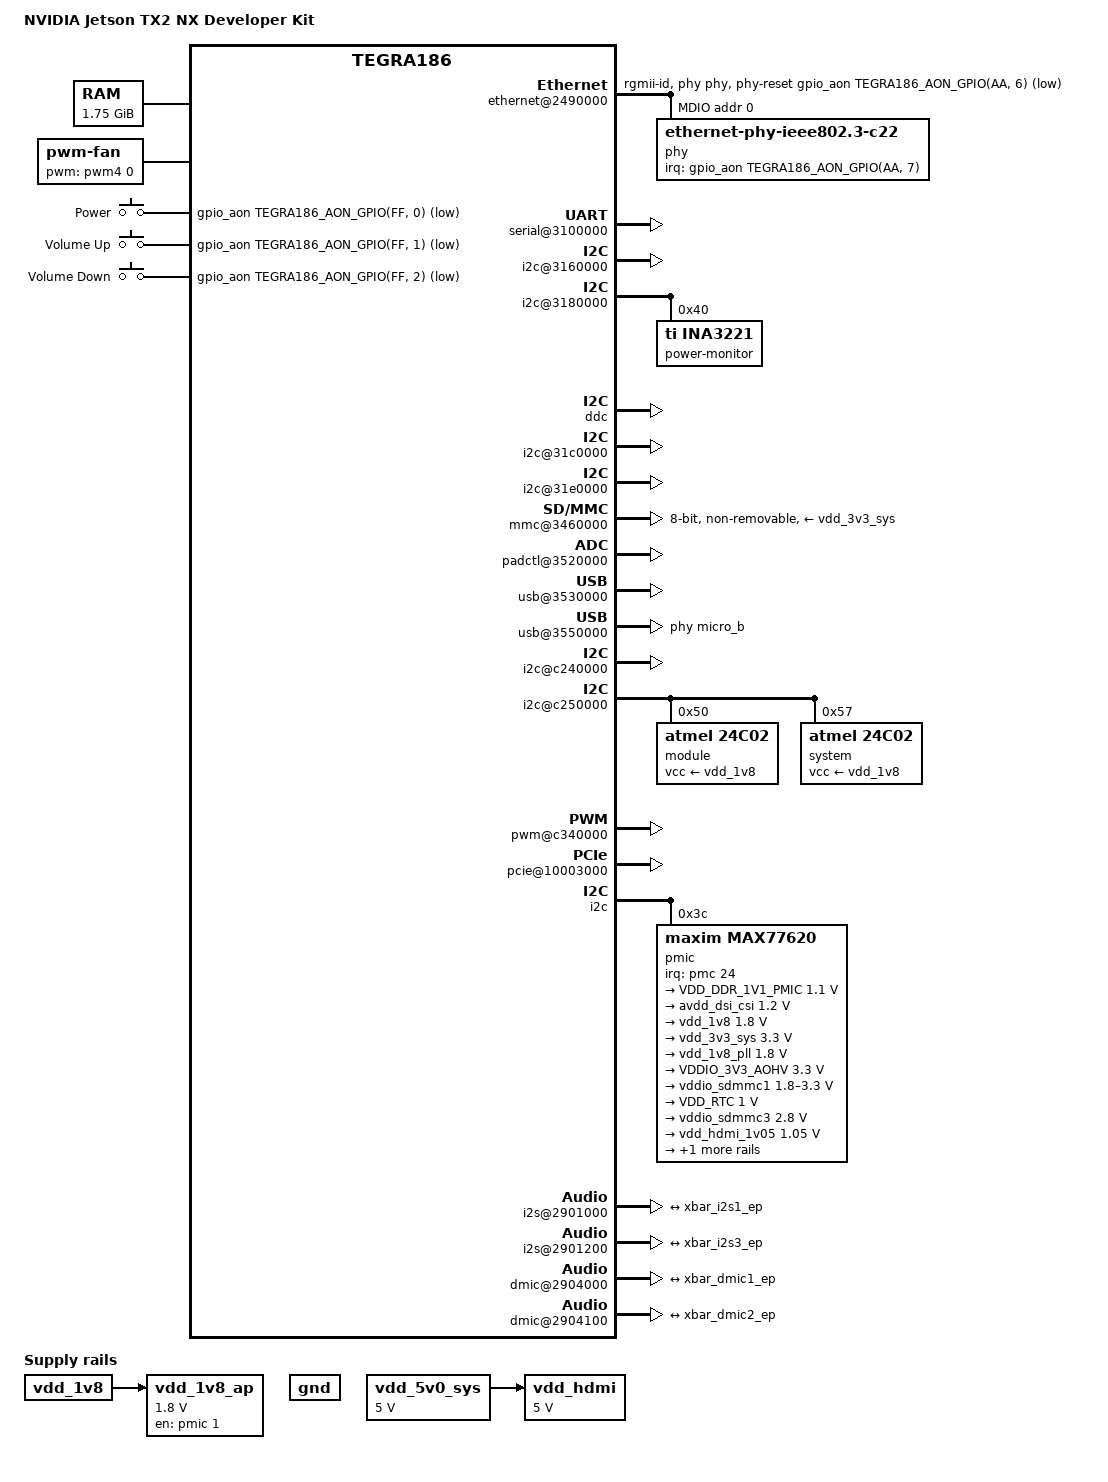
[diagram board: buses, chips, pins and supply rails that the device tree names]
// SPDX-License-Identifier: GPL-2.0
/dts-v1/;

#include <dt-bindings/input/linux-event-codes.h>
#include <dt-bindings/input/gpio-keys.h>
#include <dt-bindings/mfd/max77620.h>

#include "tegra186.dtsi"

/ {
	model = "NVIDIA Jetson TX2 NX Developer Kit";
	compatible = "nvidia,p3509-0000+p3636-0001", "nvidia,tegra186";

	aliases {
		ethernet0 = "/ethernet@2490000";
		i2c0 = "/bpmp/i2c";
		i2c1 = "/i2c@3160000";
		i2c2 = "/i2c@c240000";
		i2c3 = "/i2c@3180000";
		i2c4 = "/i2c@3190000";
		i2c5 = "/i2c@31c0000";
		i2c6 = "/i2c@c250000";
		i2c7 = "/i2c@31e0000";
		mmc0 = "/mmc@3460000";
		serial0 = &uarta;
	};

	chosen {
		bootargs = "earlycon console=ttyS0,115200n8";
		stdout-path = "serial0:115200n8";
	};

	memory@80000000 {
		device_type = "memory";
		reg = <0x0 0x80000000 0x0 0x70000000>;
	};

	ethernet@2490000 {
		status = "okay";

		phy-reset-gpios = <&gpio_aon TEGRA186_AON_GPIO(AA, 6) GPIO_ACTIVE_LOW>;
		phy-handle = <&phy>;
		phy-mode = "rgmii-id";

		mdio {
			#address-cells = <1>;
			#size-cells = <0>;

			phy: ethernet-phy@0 {
				compatible = "ethernet-phy-ieee802.3-c22";
				reg = <0x0>;
				interrupt-parent = <&gpio_aon>;
				interrupts = <TEGRA186_AON_GPIO(AA, 7) IRQ_TYPE_LEVEL_LOW>;
				#phy-cells = <0>;
			};
		};
	};

	memory-controller@2c00000 {
		status = "okay";
	};

	timer@3010000 {
		status = "okay";
	};

	serial@3100000 {
		status = "okay";
	};

	i2c@3160000 {
		status = "okay";
	};

	i2c@3180000 {
		status = "okay";

		power-monitor@40 {
			compatible = "ti,ina3221";
			reg = <0x40>;
			#address-cells = <1>;
			#size-cells = <0>;

			input@0 {
				reg = <0>;
				label = "VDD_IN";
				shunt-resistor-micro-ohms = <5>;
			};

			input@1 {
				reg = <1>;
				label = "VDD_CPU_GPU";
				shunt-resistor-micro-ohms = <5>;
			};

			input@2 {
				reg = <2>;
				label = "VDD_SOC";
				shunt-resistor-micro-ohms = <5>;
			};
		};
	};

	ddc: i2c@3190000 {
		status = "okay";
	};

	i2c@31c0000 {
		status = "okay";
	};

	i2c@31e0000 {
		status = "okay";
	};

	/* SDMMC4 (eMMC) */
	mmc@3460000 {
		status = "okay";
		bus-width = <8>;
		non-removable;

		vqmmc-supply = <&vdd_1v8_ap>;
		vmmc-supply = <&vdd_3v3_sys>;
	};

	hda@3510000 {
		nvidia,model = "NVIDIA Jetson TX2 NX HDA";
		status = "okay";
	};

	padctl@3520000 {
		status = "okay";

		avdd-pll-erefeut-supply = <&vdd_1v8_pll>;
		avdd-usb-supply = <&vdd_3v3_sys>;
		vclamp-usb-supply = <&vdd_1v8>;
		vddio-hsic-supply = <&gnd>;

		pads {
			usb2 {
				status = "okay";

				lanes {
					micro_b: usb2-0 {
						nvidia,function = "xusb";
						status = "okay";
					};

					usb2-1 {
						nvidia,function = "xusb";
						status = "okay";
					};

					usb2-2 {
						nvidia,function = "xusb";
						status = "okay";
					};
				};
			};

			usb3 {
				status = "okay";

				lanes {
					usb3-1 {
						nvidia,function = "xusb";
						status = "okay";
					};
				};
			};
		};

		ports {
			usb2-0 {
				status = "okay";
				mode = "otg";
				vbus-supply = <&vdd_5v0_sys>;
				usb-role-switch;

				connector {
					compatible = "gpio-usb-b-connector",
						     "usb-b-connector";
					label = "micro-USB";
					type = "micro";
					vbus-gpios = <&gpio
						      TEGRA186_MAIN_GPIO(L, 4)
						      GPIO_ACTIVE_LOW>;
					id-gpios = <&pmic 0 GPIO_ACTIVE_HIGH>;
				};
			};

			usb2-1 {
				status = "okay";
				mode = "host";

				vbus-supply = <&vdd_5v0_sys>;
			};

			usb2-2 {
				status = "okay";
				mode = "host";

				vbus-supply = <&vdd_5v0_sys>;
			};

			usb3-1 {
				nvidia,usb2-companion = <1>;
				vbus-supply = <&vdd_5v0_sys>;
				status = "okay";
			};
		};
	};

	usb@3530000 {
		status = "okay";

		phys = <&{/padctl@3520000/pads/usb2/lanes/usb2-0}>,
		       <&{/padctl@3520000/pads/usb2/lanes/usb2-1}>,
		       <&{/padctl@3520000/pads/usb2/lanes/usb2-2}>,
		       <&{/padctl@3520000/pads/usb3/lanes/usb3-1}>;
		phy-names = "usb2-0", "usb2-1", "usb2-2", "usb3-1";
	};

	usb@3550000 {
		status = "okay";

		phys = <&micro_b>;
		phy-names = "usb2-0";
	};

	hsp@3c00000 {
		status = "okay";
	};

	i2c@c240000 {
		status = "okay";
	};

	i2c@c250000 {
		status = "okay";

		/* module ID EEPROM */
		eeprom@50 {
			compatible = "atmel,24c02";
			reg = <0x50>;

			label = "module";
			vcc-supply = <&vdd_1v8>;
			address-width = <8>;
			pagesize = <8>;
			size = <256>;
			read-only;
		};

		/* carrier board ID EEPROM */
		eeprom@57 {
			compatible = "atmel,24c02";
			reg = <0x57>;

			label = "system";
			vcc-supply = <&vdd_1v8>;
			address-width = <8>;
			pagesize = <8>;
			size = <256>;
			read-only;
		};
	};

	rtc@c2a0000 {
		status = "okay";
	};

	pwm@c340000 {
		status = "okay";
	};

	pmc@c360000 {
		nvidia,invert-interrupt;
	};

	pcie@10003000 {
		status = "okay";

		dvdd-pex-supply = <&vdd_pex>;
		hvdd-pex-pll-supply = <&vdd_1v8>;
		hvdd-pex-supply = <&vdd_1v8>;
		vddio-pexctl-aud-supply = <&vdd_1v8>;

		pci@1,0 {
			nvidia,num-lanes = <2>;
			status = "okay";
		};

		pci@2,0 {
			nvidia,num-lanes = <1>;
			status = "disabled";
		};

		pci@3,0 {
			nvidia,num-lanes = <1>;
			status = "okay";
		};
	};

	host1x@13e00000 {
		status = "okay";

		dpaux@15040000 {
			status = "okay";
		};

		display-hub@15200000 {
			status = "okay";
		};

		dsi@15300000 {
			status = "disabled";
		};

		/* DP */
		sor@15540000 {
			status = "okay";

			avdd-io-hdmi-dp-supply = <&vdd_hdmi_1v05>;
			vdd-hdmi-dp-pll-supply = <&vdd_1v8_ap>;

			nvidia,dpaux = <&dpaux>;
		};

		/* HDMI */
		sor@15580000 {
			status = "okay";

			avdd-io-hdmi-dp-supply = <&vdd_hdmi_1v05>;
			vdd-hdmi-dp-pll-supply = <&vdd_1v8_ap>;
			hdmi-supply = <&vdd_hdmi>;

			nvidia,ddc-i2c-bus = <&ddc>;
			nvidia,hpd-gpio = <&gpio TEGRA186_MAIN_GPIO(P, 1)
						 GPIO_ACTIVE_LOW>;
		};

		dpaux@155c0000 {
			status = "okay";
		};
	};

	gpu@17000000 {
		status = "okay";
	};

	fan: pwm-fan {
		compatible = "pwm-fan";
		pwms = <&pwm4 0 45334>;

		cooling-levels = <0 64 128 255>;
		#cooling-cells = <2>;
	};

	gpio-keys {
		compatible = "gpio-keys";

		key-power {
			label = "Power";
			gpios = <&gpio_aon TEGRA186_AON_GPIO(FF, 0)
					   GPIO_ACTIVE_LOW>;
			linux,input-type = <EV_KEY>;
			linux,code = <KEY_POWER>;
			debounce-interval = <10>;
			wakeup-event-action = <EV_ACT_ASSERTED>;
			wakeup-source;
		};

		key-volume-up {
			label = "Volume Up";
			gpios = <&gpio_aon TEGRA186_AON_GPIO(FF, 1)
					   GPIO_ACTIVE_LOW>;
			linux,input-type = <EV_KEY>;
			linux,code = <KEY_VOLUMEUP>;
			debounce-interval = <10>;
		};

		key-volume-down {
			label = "Volume Down";
			gpios = <&gpio_aon TEGRA186_AON_GPIO(FF, 2)
					   GPIO_ACTIVE_LOW>;
			linux,input-type = <EV_KEY>;
			linux,code = <KEY_VOLUMEDOWN>;
			debounce-interval = <10>;
		};
	};

	cpus {
		cpu@0 {
			enable-method = "psci";
		};

		cpu@1 {
			enable-method = "psci";
		};

		cpu@2 {
			enable-method = "psci";
		};

		cpu@3 {
			enable-method = "psci";
		};

		cpu@4 {
			enable-method = "psci";
		};

		cpu@5 {
			enable-method = "psci";
		};
	};

	bpmp {
		i2c {
			status = "okay";

			pmic: pmic@3c {
				compatible = "maxim,max77620";
				reg = <0x3c>;

				interrupt-parent = <&pmc>;
				interrupts = <24 IRQ_TYPE_LEVEL_LOW>;
				#interrupt-cells = <2>;
				interrupt-controller;

				#gpio-cells = <2>;
				gpio-controller;

				pinctrl-names = "default";
				pinctrl-0 = <&max77620_default>;

				max77620_default: pinmux {
					gpio0 {
						pins = "gpio0";
						function = "gpio";
					};

					gpio1 {
						pins = "gpio1";
						function = "fps-out";
						maxim,active-fps-source = <MAX77620_FPS_SRC_0>;
					};

					gpio2 {
						pins = "gpio2";
						function = "fps-out";
						maxim,active-fps-source = <MAX77620_FPS_SRC_1>;
					};

					gpio3 {
						pins = "gpio3";
						function = "fps-out";
						maxim,active-fps-source = <MAX77620_FPS_SRC_1>;
					};

					gpio4 {
						pins = "gpio4";
						function = "32k-out1";
						drive-push-pull = <1>;
					};

					gpio5 {
						pins = "gpio5";
						function = "gpio";
						drive-push-pull = <0>;
					};

					gpio6 {
						pins = "gpio6";
						function = "gpio";
						drive-push-pull = <1>;
					};

					gpio7 {
						pins = "gpio7";
						function = "gpio";
						drive-push-pull = <1>;
					};
				};

				fps {
					fps0 {
						maxim,fps-event-source = <MAX77620_FPS_EVENT_SRC_EN0>;
						maxim,shutdown-fps-time-period-us = <640>;
					};

					fps1 {
						maxim,fps-event-source = <MAX77620_FPS_EVENT_SRC_EN1>;
						maxim,shutdown-fps-time-period-us = <640>;
					};

					fps2 {
						maxim,fps-event-source = <MAX77620_FPS_EVENT_SRC_EN0>;
						maxim,shutdown-fps-time-period-us = <640>;
					};
				};

				regulators {
					in-sd0-supply = <&vdd_5v0_sys>;
					in-sd1-supply = <&vdd_5v0_sys>;
					in-sd2-supply = <&vdd_5v0_sys>;
					in-sd3-supply = <&vdd_5v0_sys>;

					in-ldo0-1-supply = <&vdd_5v0_sys>;
					in-ldo2-supply = <&vdd_5v0_sys>;
					in-ldo3-5-supply = <&vdd_5v0_sys>;
					in-ldo4-6-supply = <&vdd_1v8>;
					in-ldo7-8-supply = <&avdd_dsi_csi>;

					sd0 {
						regulator-name = "VDD_DDR_1V1_PMIC";
						regulator-min-microvolt = <1100000>;
						regulator-max-microvolt = <1100000>;
						regulator-always-on;
						regulator-boot-on;
					};

					avdd_dsi_csi: sd1 {
						regulator-name = "AVDD_DSI_CSI_1V2";
						regulator-min-microvolt = <1200000>;
						regulator-max-microvolt = <1200000>;
					};

					vdd_1v8: sd2 {
						regulator-name = "VDD_1V8";
						regulator-min-microvolt = <1800000>;
						regulator-max-microvolt = <1800000>;
					};

					vdd_3v3_sys: sd3 {
						regulator-name = "VDD_3V3_SYS";
						regulator-min-microvolt = <3300000>;
						regulator-max-microvolt = <3300000>;
					};

					vdd_1v8_pll: ldo0 {
						regulator-name = "VDD_1V8_AP_PLL";
						regulator-min-microvolt = <1800000>;
						regulator-max-microvolt = <1800000>;
					};

					ldo2 {
						regulator-name = "VDDIO_3V3_AOHV";
						regulator-min-microvolt = <3300000>;
						regulator-max-microvolt = <3300000>;
						regulator-always-on;
						regulator-boot-on;
					};

					vddio_sdmmc1: ldo3 {
						regulator-name = "VDDIO_SDMMC1_AP";
						regulator-min-microvolt = <1800000>;
						regulator-max-microvolt = <3300000>;
					};

					ldo4 {
						regulator-name = "VDD_RTC";
						regulator-min-microvolt = <1000000>;
						regulator-max-microvolt = <1000000>;
					};

					vddio_sdmmc3: ldo5 {
						regulator-name = "VDDIO_SDMMC3_AP";
						regulator-min-microvolt = <2800000>;
						regulator-max-microvolt = <2800000>;
					};

					vdd_hdmi_1v05: ldo7 {
						regulator-name = "VDD_HDMI_1V05";
						regulator-min-microvolt = <1050000>;
						regulator-max-microvolt = <1050000>;
					};

					vdd_pex: ldo8 {
						regulator-name = "VDD_PEX_1V05";
						regulator-min-microvolt = <1050000>;
						regulator-max-microvolt = <1050000>;
					};
				};
			};
		};
	};

	psci {
		compatible = "arm,psci-1.0";
		status = "okay";
		method = "smc";
	};

	gnd: regulator-gnd {
		compatible = "regulator-fixed";
		regulator-name = "GND";
		regulator-min-microvolt = <0>;
		regulator-max-microvolt = <0>;
		regulator-always-on;
		regulator-boot-on;
	};

	vdd_5v0_sys: regulator-vdd-5v0-sys {
		compatible = "regulator-fixed";
		regulator-name = "VDD_5V0_SYS";
		regulator-min-microvolt = <5000000>;
		regulator-max-microvolt = <5000000>;
		regulator-always-on;
		regulator-boot-on;
	};

	vdd_1v8_ap: regulator-vdd-1v8-ap {
		compatible = "regulator-fixed";
		regulator-name = "VDD_1V8_AP";
		regulator-min-microvolt = <1800000>;
		regulator-max-microvolt = <1800000>;

		gpio = <&pmic 1 GPIO_ACTIVE_HIGH>;
		enable-active-high;

		vin-supply = <&vdd_1v8>;
	};

	vdd_hdmi: regulator-vdd-hdmi {
		compatible = "regulator-fixed";
		regulator-name = "VDD_5V0_HDMI_CON";
		regulator-min-microvolt = <5000000>;
		regulator-max-microvolt = <5000000>;

		vin-supply = <&vdd_5v0_sys>;
	};

	thermal-zones {
		cpu-thermal {
			polling-delay = <0>;
			polling-delay-passive = <500>;
			status = "okay";

			trips {
				cpu_trip_critical: critical {
					temperature = <96500>;
					hysteresis = <0>;
					type = "critical";
				};

				cpu_trip_hot: hot {
					temperature = <79000>;
					hysteresis = <2000>;
					type = "hot";
				};

				cpu_trip_active: active {
					temperature = <62000>;
					hysteresis = <2000>;
					type = "active";
				};

				cpu_trip_passive: passive {
					temperature = <45000>;
					hysteresis = <2000>;
					type = "passive";
				};
			};

			cooling-maps {
				cpu-critical {
					cooling-device = <&fan 3 3>;
					trip = <&cpu_trip_critical>;
				};

				cpu-hot {
					cooling-device = <&fan 2 2>;
					trip = <&cpu_trip_hot>;
				};

				cpu-active {
					cooling-device = <&fan 1 1>;
					trip = <&cpu_trip_active>;
				};

				cpu-passive {
					cooling-device = <&fan 0 0>;
					trip = <&cpu_trip_passive>;
				};
			};
		};

		aux-thermal {
			polling-delay = <0>;
			polling-delay-passive = <500>;
			status = "okay";

			trips {
				aux_alert0: critical {
					temperature = <90000>;
					hysteresis = <0>;
					type = "critical";
				};
			};
		};

		gpu-thermal {
			polling-delay = <0>;
			polling-delay-passive = <500>;
			status = "okay";

			trips {
				gpu_alert0: critical {
					temperature = <99000>;
					hysteresis = <0>;
					type = "critical";
				};
			};
		};
	};

	aconnect@2900000 {
		status = "okay";

		dma-controller@2930000 {
			status = "okay";
		};

		interrupt-controller@2a40000 {
			status = "okay";
		};

		ahub@2900800 {
			status = "okay";

			ports {
				#address-cells = <1>;
				#size-cells = <0>;

				port@0 {
					reg = <0x0>;

					xbar_admaif0_ep: endpoint {
						remote-endpoint = <&admaif0_ep>;
					};
				};

				port@1 {
					reg = <0x1>;

					xbar_admaif1_ep: endpoint {
						remote-endpoint = <&admaif1_ep>;
					};
				};

				port@2 {
					reg = <0x2>;

					xbar_admaif2_ep: endpoint {
						remote-endpoint = <&admaif2_ep>;
					};
				};

				port@3 {
					reg = <0x3>;

					xbar_admaif3_ep: endpoint {
						remote-endpoint = <&admaif3_ep>;
					};
				};

				port@4 {
					reg = <0x4>;

					xbar_admaif4_ep: endpoint {
						remote-endpoint = <&admaif4_ep>;
					};
				};

				port@5 {
					reg = <0x5>;

					xbar_admaif5_ep: endpoint {
						remote-endpoint = <&admaif5_ep>;
					};
				};

				port@6 {
					reg = <0x6>;

					xbar_admaif6_ep: endpoint {
						remote-endpoint = <&admaif6_ep>;
					};
				};

				port@7 {
					reg = <0x7>;

					xbar_admaif7_ep: endpoint {
						remote-endpoint = <&admaif7_ep>;
					};
				};

				port@8 {
					reg = <0x8>;

					xbar_admaif8_ep: endpoint {
						remote-endpoint = <&admaif8_ep>;
					};
				};

				port@9 {
					reg = <0x9>;

					xbar_admaif9_ep: endpoint {
						remote-endpoint = <&admaif9_ep>;
					};
				};

				port@a {
					reg = <0xa>;

					xbar_admaif10_ep: endpoint {
						remote-endpoint = <&admaif10_ep>;
					};
				};

				port@b {
					reg = <0xb>;

					xbar_admaif11_ep: endpoint {
						remote-endpoint = <&admaif11_ep>;
					};
				};

				port@c {
					reg = <0xc>;

					xbar_admaif12_ep: endpoint {
						remote-endpoint = <&admaif12_ep>;
					};
				};

				port@d {
					reg = <0xd>;

					xbar_admaif13_ep: endpoint {
						remote-endpoint = <&admaif13_ep>;
					};
				};

				port@e {
					reg = <0xe>;

					xbar_admaif14_ep: endpoint {
						remote-endpoint = <&admaif14_ep>;
					};
				};

				port@f {
					reg = <0xf>;

					xbar_admaif15_ep: endpoint {
						remote-endpoint = <&admaif15_ep>;
					};
				};

				port@10 {
					reg = <0x10>;

					xbar_admaif16_ep: endpoint {
						remote-endpoint = <&admaif16_ep>;
					};
				};

				port@11 {
					reg = <0x11>;

					xbar_admaif17_ep: endpoint {
						remote-endpoint = <&admaif17_ep>;
					};
				};

				port@12 {
					reg = <0x12>;

					xbar_admaif18_ep: endpoint {
						remote-endpoint = <&admaif18_ep>;
					};
				};

				port@13 {
					reg = <0x13>;

					xbar_admaif19_ep: endpoint {
						remote-endpoint = <&admaif19_ep>;
					};
				};

				xbar_i2s1_port: port@14 {
					reg = <0x14>;

					xbar_i2s1_ep: endpoint {
						remote-endpoint = <&i2s1_cif_ep>;
					};
				};

				xbar_i2s3_port: port@16 {
					reg = <0x16>;

					xbar_i2s3_ep: endpoint {
						remote-endpoint = <&i2s3_cif_ep>;
					};
				};

				xbar_dmic1_port: port@1a {
					reg = <0x1a>;

					xbar_dmic1_ep: endpoint {
						remote-endpoint = <&dmic1_cif_ep>;
					};
				};

				xbar_dmic2_port: port@1b {
					reg = <0x1b>;

					xbar_dmic2_ep: endpoint {
						remote-endpoint = <&dmic2_cif_ep>;
					};
				};
			};

			admaif@290f000 {
				status = "okay";

				ports {
					#address-cells = <1>;
					#size-cells = <0>;

					admaif0_port: port@0 {
						reg = <0x0>;

						admaif0_ep: endpoint {
							remote-endpoint = <&xbar_admaif0_ep>;
						};
					};

					admaif1_port: port@1 {
						reg = <0x1>;

						admaif1_ep: endpoint {
							remote-endpoint = <&xbar_admaif1_ep>;
						};
					};

					admaif2_port: port@2 {
						reg = <0x2>;

						admaif2_ep: endpoint {
							remote-endpoint = <&xbar_admaif2_ep>;
						};
					};

					admaif3_port: port@3 {
						reg = <0x3>;

						admaif3_ep: endpoint {
							remote-endpoint = <&xbar_admaif3_ep>;
						};
					};

					admaif4_port: port@4 {
						reg = <0x4>;

						admaif4_ep: endpoint {
							remote-endpoint = <&xbar_admaif4_ep>;
						};
					};

					admaif5_port: port@5 {
						reg = <0x5>;

						admaif5_ep: endpoint {
							remote-endpoint = <&xbar_admaif5_ep>;
						};
					};

					admaif6_port: port@6 {
						reg = <0x6>;

						admaif6_ep: endpoint {
							remote-endpoint = <&xbar_admaif6_ep>;
						};
					};

					admaif7_port: port@7 {
						reg = <0x7>;

						admaif7_ep: endpoint {
							remote-endpoint = <&xbar_admaif7_ep>;
						};
					};

					admaif8_port: port@8 {
						reg = <0x8>;

						admaif8_ep: endpoint {
							remote-endpoint = <&xbar_admaif8_ep>;
						};
					};

					admaif9_port: port@9 {
						reg = <0x9>;

						admaif9_ep: endpoint {
							remote-endpoint = <&xbar_admaif9_ep>;
						};
					};

					admaif10_port: port@a {
						reg = <0xa>;

						admaif10_ep: endpoint {
							remote-endpoint = <&xbar_admaif10_ep>;
						};
					};

					admaif11_port: port@b {
						reg = <0xb>;

						admaif11_ep: endpoint {
							remote-endpoint = <&xbar_admaif11_ep>;
						};
					};

					admaif12_port: port@c {
						reg = <0xc>;

						admaif12_ep: endpoint {
							remote-endpoint = <&xbar_admaif12_ep>;
						};
					};

					admaif13_port: port@d {
						reg = <0xd>;

						admaif13_ep: endpoint {
							remote-endpoint = <&xbar_admaif13_ep>;
						};
					};

					admaif14_port: port@e {
						reg = <0xe>;

						admaif14_ep: endpoint {
							remote-endpoint = <&xbar_admaif14_ep>;
						};
					};

					admaif15_port: port@f {
						reg = <0xf>;

						admaif15_ep: endpoint {
							remote-endpoint = <&xbar_admaif15_ep>;
						};
					};

					admaif16_port: port@10 {
						reg = <0x10>;

						admaif16_ep: endpoint {
							remote-endpoint = <&xbar_admaif16_ep>;
						};
					};

					admaif17_port: port@11 {
						reg = <0x11>;

						admaif17_ep: endpoint {
							remote-endpoint = <&xbar_admaif17_ep>;
						};
					};

					admaif18_port: port@12 {
						reg = <0x12>;

						admaif18_ep: endpoint {
							remote-endpoint = <&xbar_admaif18_ep>;
						};
					};

					admaif19_port: port@13 {
						reg = <0x13>;

						admaif19_ep: endpoint {
							remote-endpoint = <&xbar_admaif19_ep>;
						};
					};
				};
			};

			i2s@2901000 {
				status = "okay";

				ports {
					#address-cells = <1>;
					#size-cells = <0>;

					port@0 {
						reg = <0>;

						i2s1_cif_ep: endpoint {
							remote-endpoint = <&xbar_i2s1_ep>;
						};
					};

					i2s1_port: port@1 {
						reg = <1>;

						i2s1_dap_ep: endpoint {
							dai-format = "i2s";
							/* Placeholder for external Codec */
						};
					};
				};
			};

			i2s@2901200 {
				status = "okay";

				ports {
					#address-cells = <1>;
					#size-cells = <0>;

					port@0 {
						reg = <0>;

						i2s3_cif_ep: endpoint {
							remote-endpoint = <&xbar_i2s3_ep>;
						};
					};

					i2s3_port: port@1 {
						reg = <1>;

						i2s3_dap_ep: endpoint {
							dai-format = "i2s";
							/* Placeholder for external Codec */
						};
					};
				};
			};

			dmic@2904000 {
				status = "okay";

				ports {
					#address-cells = <1>;
					#size-cells = <0>;

					port@0 {
						reg = <0>;

						dmic1_cif_ep: endpoint {
							remote-endpoint = <&xbar_dmic1_ep>;
						};
					};

					dmic1_port: port@1 {
						reg = <1>;

						dmic1_dap_ep: endpoint {
							/* Place holder for external Codec */
						};
					};
				};
			};

			dmic@2904100 {
				status = "okay";

				ports {
					#address-cells = <1>;
					#size-cells = <0>;

					port@0 {
						reg = <0>;

						dmic2_cif_ep: endpoint {
							remote-endpoint = <&xbar_dmic2_ep>;
						};
					};

					dmic2_port: port@1 {
						reg = <1>;

						dmic2_dap_ep: endpoint {
							/* Place holder for external Codec */
						};
					};
				};
			};
		};
	};

	sound {
		compatible = "nvidia,tegra186-audio-graph-card";
		status = "okay";

		dais = /* FE */
		       <&admaif0_port>, <&admaif1_port>, <&admaif2_port>, <&admaif3_port>,
		       <&admaif4_port>, <&admaif5_port>, <&admaif6_port>, <&admaif7_port>,
		       <&admaif8_port>, <&admaif9_port>, <&admaif10_port>, <&admaif11_port>,
		       <&admaif12_port>, <&admaif13_port>, <&admaif14_port>, <&admaif15_port>,
		       <&admaif16_port>, <&admaif17_port>, <&admaif18_port>, <&admaif19_port>,
		       /* Router */
		       <&xbar_i2s1_port>, <&xbar_i2s3_port>,
		       <&xbar_dmic1_port>, <&xbar_dmic2_port>,
		       /* I/O */
		       <&i2s1_port>, <&i2s3_port>,
		       <&dmic1_port>, <&dmic2_port>;

		label = "NVIDIA Jetson TX2 NX APE";
	};
};
